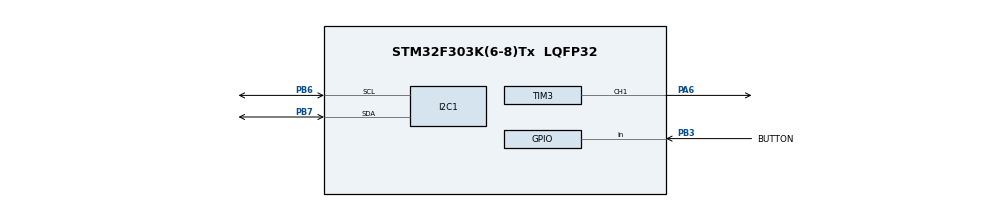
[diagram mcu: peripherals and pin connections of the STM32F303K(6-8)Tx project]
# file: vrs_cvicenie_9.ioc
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Mcu.Family=STM32F3
Mcu.Name=STM32F303K(6-8)Tx
Mcu.Package=LQFP32
NVIC.I2C1_EV_IRQn=true\:0\:0\:false\:false\:true\:true\:true
NVIC.PriorityGroup=NVIC_PRIORITYGROUP_4
NVIC.TIM3_IRQn=true\:0\:0\:false\:false\:true\:true\:true
PA13.Mode=Serial_Wire
PA13.Signal=SYS_JTMS-SWDIO
PA14.Mode=Serial_Wire
PA14.Signal=SYS_JTCK-SWCLK
PA6.Signal=S_TIM3_CH1
PB3.GPIO_Label=BUTTON
PB3.GPIO_PuPd=GPIO_PULLUP
PB3.Signal=GPIO_Input
PB6.Mode=I2C
PB6.Signal=I2C1_SCL
PB7.Mode=I2C
PB7.Signal=I2C1_SDA
ProjectManager.HeapSize=0x200
ProjectManager.StackSize=0x400
ProjectManager.TargetToolchain=STM32CubeIDE
RCC.AHBFreq_Value=8000000
RCC.APB1Freq_Value=8000000
RCC.APB2Freq_Value=8000000
RCC.CortexFreq_Value=8000000
RCC.HSE_VALUE=8000000
RCC.HSI_VALUE=8000000
RCC.SYSCLKFreq_VALUE=8000000
SH.S_TIM3_CH1.0=TIM3_CH1,PWM Generation1 CH1
TIM3.Channel-PWM\ Generation1\ CH1=TIM_CHANNEL_1
TIM3.Period=19
TIM3.Prescaler=7999
VP_TIM3_VS_ClockSourceINT.Mode=Internal
board=custom

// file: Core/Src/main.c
/* USER CODE BEGIN Header */
/**
  ******************************************************************************
  * @file           : main.c
  * @brief          : Main program body
  ******************************************************************************
  * @attention
  *
  * <h2><center>&copy; Copyright (c) 2020 STMicroelectronics.
  * All rights reserved.</center></h2>
  *
  * This software component is licensed by ST under BSD 3-Clause license,
  * the "License"; You may not use this file except in compliance with the
  * License. You may obtain a copy of the License at:
  *                        opensource.org/licenses/BSD-3-Clause
  *
  ******************************************************************************
  */
/* USER CODE END Header */

#include "main.h"
#include "gpio.h"
#include "tim.h"
#include "display.h"
#include "assignment.h"
#include "i2c.h"
#include"stdio.h"

#include "../barometer/lps25hb.h"
#include "../temperature_humidity/hts221.h"

void SystemClock_Config(void);

extern uint64_t disp_time;
uint64_t saved_time;
//char text_to_display[] = "Lukas_Pocsik_98388";

char text_to_display [20];
char data[4];
int shift = 4;
int x = 0;
int i;
int j;
int refresh;
int switch_state = 0;

float pressure;
float temperature;
float humidity;
float altitude;

int main(void)
{

  LL_APB2_GRP1_EnableClock(LL_APB2_GRP1_PERIPH_SYSCFG);
  LL_APB1_GRP1_EnableClock(LL_APB1_GRP1_PERIPH_PWR);

  NVIC_SetPriorityGrouping(NVIC_PRIORITYGROUP_4);

  SystemClock_Config();

  MX_GPIO_Init();

  setSegments();
  setDigits();

  LL_mDelay(2000);

  resetDigits();
  resetSegments();

  MX_TIM3_Init();
  MX_I2C1_Init();

  //type your code for EXTI configuration (priority, enable EXTI, setup EXTI for input pin, trigger edge) here:

  SYSCFG->EXTICR[0] &= ~(SYSCFG_EXTICR1_EXTI3);
  SYSCFG->EXTICR[0] |= SYSCFG_EXTICR1_EXTI3_PB;

  EXTI->IMR |= EXTI_IMR_MR3;

  //Set EXTI trigger to falling edge
  EXTI->RTSR &= ~(EXTI_IMR_MR3);
  EXTI->FTSR |= EXTI_IMR_MR3;

  NVIC_SetPriority(EXTI3_IRQn, 2); // Priority
  NVIC_EnableIRQ(EXTI3_IRQn); // Enable Interrupt

  if(!lps25hb_init() || !hts221_init())
	 refresh = 1;

  while (1)
  {
		  lps25hb_get_pressure(&pressure);
		  lps25hb_get_altitude(&altitude);
		  hts221_get_temperature(&temperature);
		  hts221_get_humidity(&humidity);

		  /// TEMPERATURE

		  if (switch_state == 0)
		  {
			  if(temperature >= 100)
		  		 temperature = 99.9;

		  	  if(temperature <= -100)
		  		 temperature = -99.9;

		  	  sprintf(text_to_display, "TEMP_%2.1f", temperature);

		  	  for(i = 0; i<strlen(text_to_display); i++)
		  	  {
		  		  if(text_to_display[i] == '.')
		  		  {
		  			  text_to_display[i] = text_to_display[i+1];
		  			  text_to_display[i+1] = '\0';
		  		  }
		  	  }

			  if(shift<9)
			  {

				  for(i=0; i<5; i++)
				  {
					  for(j=i; j<shift; j++)
					  {
						  data[x] = text_to_display[j];
						  displaySign(data, i, switch_state);
						  x++;
					  }

					  LL_mDelay(500);
					  memset(data, 0, sizeof data);
					  x = 0;
					  shift++;
				  }
			  }else
			  {
				  for(i=3; i>=0; i--)
				  {
					  for(j=i; j<shift-2; j++)
					  {
						  data[x] = text_to_display[j];
						  displaySign(data, i, switch_state);
						  x++;
					  }

					  LL_mDelay(500);
					  memset(data, 0, sizeof data);
					  x = 0;
					  shift--;
				  }
			  }
		  }

			  /// HUMIDITY

			  if (switch_state == 1)
			  {
				  if(humidity >= 100)
					 humidity = 99;

			  	  if(humidity <= 0)
			  		humidity = 0;

			  	  sprintf(text_to_display, "HUM_%2.0f", humidity);

				  if(shift<7)
				  {

					  for(i=0; i<3; i++)
					  {
						  for(j=i; j<shift; j++)
						  {
							  data[x] = text_to_display[j];
							  displaySign(data, i, switch_state);
							  x++;
						  }

						  LL_mDelay(500);
						  memset(data, 0, sizeof data);
						  x = 0;
						  shift++;
					  }
				  }else
				  {
					  for(i=1; i>=0; i--)
					  {
						  for(j=i; j<shift-2; j++)
						  {
							  data[x] = text_to_display[j];
							  displaySign(data, i, switch_state);
							  x++;
						  }

						  LL_mDelay(500);
						  memset(data, 0, sizeof data);
						  x = 0;
						  shift--;
					  }
				  }
			   }

			  /// PRESSURE

			  if (switch_state == 2)
			  {

				  if(pressure >= 10000)
					 pressure = 9999.99;

			  	  if(pressure <= 0)
			  		 pressure = 0;

			  	  sprintf(text_to_display, "BAR_%4.2f", pressure);

			  	  for(i = 0; i<strlen(text_to_display); i++)
			  	  {
			  		  if(text_to_display[i] == '.')
			  		  {
			  			text_to_display[i] = text_to_display[i+1];
			  			text_to_display[i+1] = text_to_display[i+2];
			  			text_to_display[i+2] = '\0';
			  		  }
			  	  }

				  if(shift<10)
				  {

					  for(i=0; i<6; i++)
					  {
						  for(j=i; j<shift; j++)
						  {
							  data[x] = text_to_display[j];
							  displaySign(data, i, switch_state);
							  x++;
						  }

						  LL_mDelay(500);
						  memset(data, 0, sizeof data);
						  x = 0;
						  shift++;
					  }
				  }else
				  {
					  for(i=4; i>=0; i--)
					  {
						  for(j=i; j<shift-2; j++)
						  {
							  data[x] = text_to_display[j];
							  displaySign(data, i, switch_state);
							  x++;
						  }

						  LL_mDelay(500);
						  memset(data, 0, sizeof data);
						  x = 0;
						  shift--;
					  }
				  }
			  }

			  /// ALTITUDE

			  if (switch_state == 3)
			  {
				  if(altitude >= 10000)
					 altitude  = 9999.9;

			  	  if(altitude  <= -10000)
			  		 altitude  = -9999.9;

			  	  sprintf(text_to_display, "ALT_%4.1f", altitude);

			  	  for(i = 0; i<strlen(text_to_display); i++)
			  	  {
			  		  if(text_to_display[i] == '.')
			  		  {
			  			  text_to_display[i] = text_to_display[i+1];
			  			  text_to_display[i+1] = '\0';
			  		  }
			  	  }

				  if(shift<9)
				  {

					  for(i=0; i<5; i++)
					  {
						  for(j=i; j<shift; j++)
						  {
							  data[x] = text_to_display[j];
							  displaySign(data, i, switch_state);
							  x++;
						  }

						  LL_mDelay(500);
						  memset(data, 0, sizeof data);
						  x = 0;
						  shift++;
					  }
				  }else
				  {
					  for(i=3; i>=0; i--)
					  {
						  for(j=i; j<shift-2; j++)
						  {
							  data[x] = text_to_display[j];
							  displaySign(data, i, switch_state);
							  x++;
						  }

						  LL_mDelay(500);
						  memset(data, 0, sizeof data);
						  x = 0;
						  shift--;
					  }
				  }
			  }

			  if(switch_state == 4)
				  switch_state = 0;

  }

}

void SystemClock_Config(void)
{
  LL_FLASH_SetLatency(LL_FLASH_LATENCY_0);

  if(LL_FLASH_GetLatency() != LL_FLASH_LATENCY_0)
  {
  Error_Handler();
  }
  LL_RCC_HSI_Enable();

   /* Wait till HSI is ready */
  while(LL_RCC_HSI_IsReady() != 1)
  {

  }
  LL_RCC_HSI_SetCalibTrimming(16);
  LL_RCC_SetAHBPrescaler(LL_RCC_SYSCLK_DIV_1);
  LL_RCC_SetAPB1Prescaler(LL_RCC_APB1_DIV_1);
  LL_RCC_SetAPB2Prescaler(LL_RCC_APB1_DIV_1);
  LL_RCC_SetSysClkSource(LL_RCC_SYS_CLKSOURCE_HSI);

   /* Wait till System clock is ready */
  while(LL_RCC_GetSysClkSource() != LL_RCC_SYS_CLKSOURCE_STATUS_HSI)
  {

  }
  LL_Init1msTick(8000000);
  LL_SYSTICK_SetClkSource(LL_SYSTICK_CLKSOURCE_HCLK);
  LL_SYSTICK_EnableIT();
  LL_SetSystemCoreClock(8000000);
}

/* USER CODE BEGIN 4 */
uint8_t checkButtonState(GPIO_TypeDef* PORT, uint8_t PIN, uint8_t edge, uint8_t samples_window, uint8_t samples_required)
{
	uint8_t button_state = 0, timeout = 0;

	while(button_state < samples_required && timeout < samples_window)
	{
		if(!(PORT->IDR & (1 << PIN)))
		{
			button_state += 1;
		}
		else
		{
			button_state = 0;
		}

		timeout += 1;
		LL_mDelay(1);
	}

	if((button_state >= samples_required) && (timeout <= samples_window))
	{
		return 1;
	}
	else
	{
		return 0;
	}
}

void EXTI3_IRQHandler(void)
{
	if(checkButtonState(GPIO_PORT_BUTTON,
						GPIO_PIN_BUTTON,
						BUTTON_EXTI_TRIGGER,
						BUTTON_EXTI_SAMPLES_WINDOW,
						BUTTON_EXTI_SAMPLES_REQUIRED))
	{
		//switch_state ^= 1;
		switch_state++;
	}

	/* Clear EXTI4 pending register flag */

	EXTI->PR |= (EXTI_PR_PIF3);
}
/* USER CODE END 4 */

void Error_Handler(void)
{
}

/************************ (C) COPYRIGHT STMicroelectronics *****END OF FILE****/
